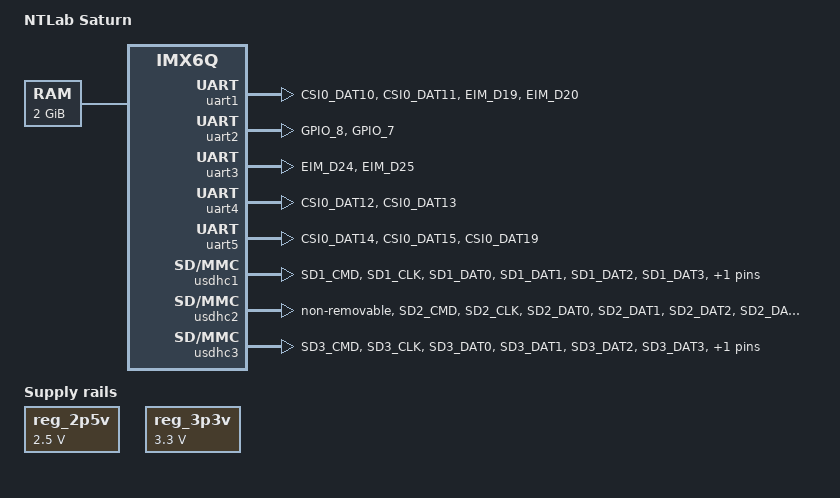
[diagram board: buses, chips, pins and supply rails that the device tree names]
/dts-v1/;
#include "imx6q.dtsi"

/ {
	model = "NTLab Saturn";
	compatible = "ntlab,saturn";

	memory {
		reg = <0x10000000 0x80000000>;
	};

	regulators {
		compatible = "simple-bus";
		#address-cells = <1>;
		#size-cells = <0>;

reg_2p5v: regulator@0 {
			  compatible = "regulator-fixed";
			  reg = <0>;
			  regulator-name = "2P5V";
			  regulator-min-microvolt = <2500000>;
			  regulator-max-microvolt = <2500000>;
			  regulator-always-on;
		  };

reg_3p3v: regulator@1 {
			  compatible = "regulator-fixed";
			  reg = <1>;
			  regulator-name = "3P3V";
			  regulator-min-microvolt = <3300000>;
			  regulator-max-microvolt = <3300000>;
			  regulator-always-on;
		  };
	};

};

&iomuxc {
	pinctrl-names = "default";
	pinctrl-0 = <&pinctrl_hog>;

	imx6qdl-wandboard {
		pinctrl_hog: hoggrp {
				 fsl,pins = <
					 MX6QDL_PAD_GPIO_0__CCM_CLKO1 	 0x130b0
					 MX6QDL_PAD_GPIO_2__GPIO1_IO02	 0x80000000
					 MX6QDL_PAD_EIM_DA9__GPIO3_IO09	 0x80000000
					 MX6QDL_PAD_EIM_EB1__GPIO2_IO29   0x80000000 /* WL_REF_ON */
					 MX6QDL_PAD_EIM_A25__GPIO5_IO02   0x80000000 /* WL_RST_N */
					 MX6QDL_PAD_ENET_RXD1__GPIO1_IO26 0x80000000 /* WL_REG_ON */
					 MX6QDL_PAD_ENET_TXD1__GPIO1_IO29 0x80000000 /* WL_HOST_WAKE */
					 MX6QDL_PAD_ENET_TXD0__GPIO1_IO30 0x80000000 /* WL_WAKE */
					 MX6QDL_PAD_EIM_D29__GPIO3_IO29   0x80000000
					 >;
			 };

		pinctrl_audmux: audmuxgrp {
					fsl,pins = <
						MX6QDL_PAD_CSI0_DAT7__AUD3_RXD		0x130b0
						MX6QDL_PAD_CSI0_DAT4__AUD3_TXC		0x130b0
						MX6QDL_PAD_CSI0_DAT5__AUD3_TXD		0x110b0
						MX6QDL_PAD_CSI0_DAT6__AUD3_TXFS		0x130b0
						>;
				};

		pinctrl_enet: enetgrp {
				  fsl,pins = <
					  MX6QDL_PAD_ENET_MDIO__ENET_MDIO		0x1b0b0
					  MX6QDL_PAD_ENET_MDC__ENET_MDC			0x1b0b0
					  MX6QDL_PAD_RGMII_TXC__RGMII_TXC		0x1b0b0
					  MX6QDL_PAD_RGMII_TD0__RGMII_TD0		0x1b0b0
					  MX6QDL_PAD_RGMII_TD1__RGMII_TD1		0x1b0b0
					  MX6QDL_PAD_RGMII_TD2__RGMII_TD2		0x1b0b0
					  MX6QDL_PAD_RGMII_TD3__RGMII_TD3		0x1b0b0
					  MX6QDL_PAD_RGMII_TX_CTL__RGMII_TX_CTL	0x1b0b0
					  MX6QDL_PAD_ENET_REF_CLK__ENET_TX_CLK	0x1b0b0
					  MX6QDL_PAD_RGMII_RXC__RGMII_RXC		0x1b0b0
					  MX6QDL_PAD_RGMII_RD0__RGMII_RD0		0x1b0b0
					  MX6QDL_PAD_RGMII_RD1__RGMII_RD1		0x1b0b0
					  MX6QDL_PAD_RGMII_RD2__RGMII_RD2		0x1b0b0
					  MX6QDL_PAD_RGMII_RD3__RGMII_RD3		0x1b0b0
					  MX6QDL_PAD_RGMII_RX_CTL__RGMII_RX_CTL	0x1b0b0
					  MX6QDL_PAD_GPIO_16__ENET_REF_CLK		0x4001b0a8
					  >;
			  };

		pinctrl_i2c2: i2c2grp {
				  fsl,pins = <
					  MX6QDL_PAD_KEY_COL3__I2C2_SCL		0x4001b8b1
					  MX6QDL_PAD_KEY_ROW3__I2C2_SDA		0x4001b8b1
					  >;
			  };

		pinctrl_spdif: spdifgrp {
				   fsl,pins = <
					   MX6QDL_PAD_ENET_RXD0__SPDIF_OUT		0x1b0b0
					   >;
			   };

		pinctrl_uart1: uart1grp {
				   fsl,pins = <
					   MX6QDL_PAD_CSI0_DAT10__UART1_TX_DATA	0x1b0b1
					   MX6QDL_PAD_CSI0_DAT11__UART1_RX_DATA	0x1b0b1
					   MX6QDL_PAD_EIM_D19__UART1_CTS_B		0x1b0b1
					   MX6QDL_PAD_EIM_D20__UART1_RTS_B		0x1b0b1
					   >;
			   };
		
		pinctrl_uart2: uart2grp {
				   fsl,pins = <
				   MX6QDL_PAD_GPIO_8__UART2_RX_DATA			0x1b0b1
				   MX6QDL_PAD_GPIO_7__UART2_TX_DATA			0x1b0b1
					   >;
			   };
		
		pinctrl_uart3: uart3grp {
				   fsl,pins = <
				   MX6QDL_PAD_EIM_D24__UART3_TX_DATA		0x1b0b1
				   MX6QDL_PAD_EIM_D25__UART3_RX_DATA		0x1b0b1
					   >;
			   };
			   
		pinctrl_uart4: uart4grp {
				   fsl,pins = <
				   MX6QDL_PAD_CSI0_DAT12__UART4_TX_DATA		0x1b0b1
				   MX6QDL_PAD_CSI0_DAT13__UART4_RX_DATA		0x1b0b1
					   >;
			   };
			   
		pinctrl_uart5: uart5grp {
				   fsl,pins = <
				   MX6QDL_PAD_CSI0_DAT14__UART5_TX_DATA		0x1b0b1
				   MX6QDL_PAD_CSI0_DAT15__UART5_RX_DATA		0x1b0b1
				   MX6QDL_PAD_CSI0_DAT19__GPIO6_IO05		0x1b0b1
					   >;
			   };

		pinctrl_usbotg: usbotggrp {
					fsl,pins = <
						MX6QDL_PAD_GPIO_1__USB_OTG_ID		0x17059
						>;
				};

		pinctrl_usdhc1: usdhc1grp {
					fsl,pins = <
						MX6QDL_PAD_SD1_CMD__SD1_CMD			0x17059
						MX6QDL_PAD_SD1_CLK__SD1_CLK			0x10059
						MX6QDL_PAD_SD1_DAT0__SD1_DATA0		0x17059
						MX6QDL_PAD_SD1_DAT1__SD1_DATA1		0x17059
						MX6QDL_PAD_SD1_DAT2__SD1_DATA2		0x17059
						MX6QDL_PAD_SD1_DAT3__SD1_DATA3		0x17059
						>;
				};

		pinctrl_usdhc2: usdhc2grp {
					fsl,pins = <
						MX6QDL_PAD_SD2_CMD__SD2_CMD			0x17059
						MX6QDL_PAD_SD2_CLK__SD2_CLK			0x10059
						MX6QDL_PAD_SD2_DAT0__SD2_DATA0		0x17059
						MX6QDL_PAD_SD2_DAT1__SD2_DATA1		0x17059
						MX6QDL_PAD_SD2_DAT2__SD2_DATA2		0x17059
						MX6QDL_PAD_SD2_DAT3__SD2_DATA3		0x17059
						>;
				};

		pinctrl_usdhc3: usdhc3grp {
					fsl,pins = <
						MX6QDL_PAD_SD3_CMD__SD3_CMD			0x17059
						MX6QDL_PAD_SD3_CLK__SD3_CLK			0x10059
						MX6QDL_PAD_SD3_DAT0__SD3_DATA0		0x17059
						MX6QDL_PAD_SD3_DAT1__SD3_DATA1		0x17059
						MX6QDL_PAD_SD3_DAT2__SD3_DATA2		0x17059
						MX6QDL_PAD_SD3_DAT3__SD3_DATA3		0x17059
						>;
				};
	};
};

&uart1 {
	pinctrl-names = "default";
	pinctrl-0 = <&pinctrl_uart1>;
	fsl,uart-has-rtscts;
	status = "okay";
};

&uart2 {
	pinctrl-names = "default";
	pinctrl-0 = <&pinctrl_uart2>;
	status = "okay";
};

&uart3 {
	pinctrl-names = "default";
	pinctrl-0 = <&pinctrl_uart3>;
	status = "okay";
};

&uart4 {
	pinctrl-names = "default";
	pinctrl-0 = <&pinctrl_uart4>;
	status = "okay";
};

&uart5 {
	pinctrl-names = "default";
	pinctrl-0 = <&pinctrl_uart5>;
	gpio_rs485_txen = <&gpio6 5 GPIO_ACTIVE_HIGH>;
	gpio_rs485_name = "gpio_rs485";	
	status = "okay";
};

&usdhc1 {
	pinctrl-names = "default";
	pinctrl-0 = <&pinctrl_usdhc1>;
	cd-gpios = <&gpio1 2 0>;
	status = "okay";
};

&usdhc2 {
	pinctrl-names = "default";
	pinctrl-0 = <&pinctrl_usdhc2>;
	non-removable;
	status = "okay";
};

&usdhc3 {
	pinctrl-names = "default";
	pinctrl-0 = <&pinctrl_usdhc3>;
	cd-gpios = <&gpio3 9 0>;
	status = "okay";
};
